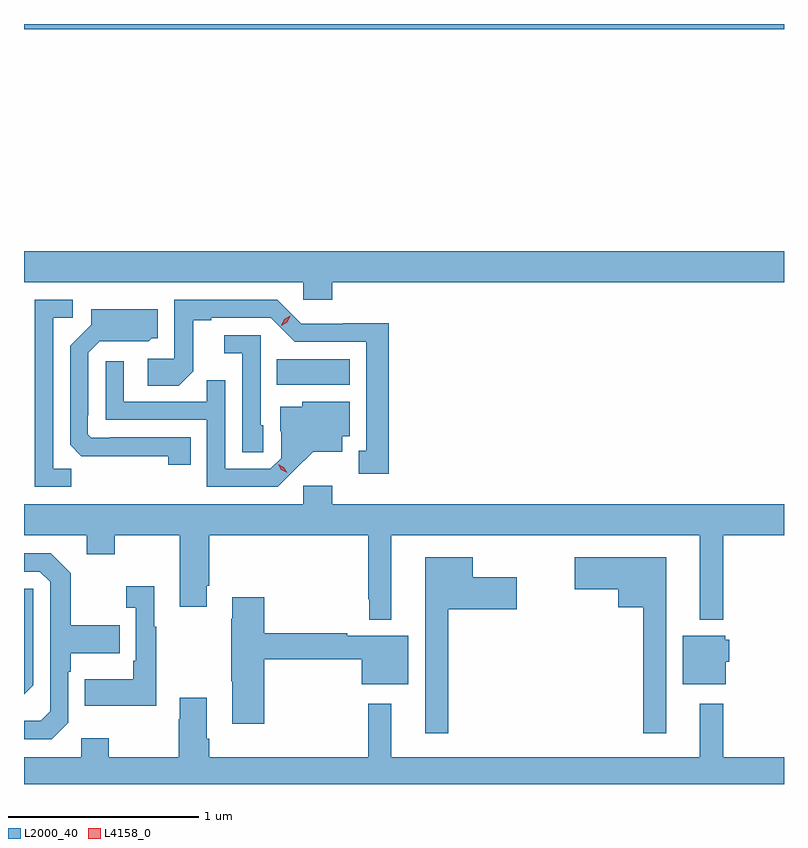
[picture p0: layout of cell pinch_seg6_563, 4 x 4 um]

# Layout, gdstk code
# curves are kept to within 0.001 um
import gdstk
lib = gdstk.Library(unit=1e-6, precision=1e-09)
def R(c, l, rs):  # rectangles x0, y0, x1, y1
    for r in rs: c.add(gdstk.rectangle(r[:2], r[2:], *l))
def P(c, l, *ps):  # polygons
    for p in ps: c.add(gdstk.Polygon(p, *l))
L2000_40 = (2000, 40)
L4158_0 = (4158, 0)

pinch_seg6_563 = lib.new_cell('pinch_seg6_563')
R(pinch_seg6_563, L2000_40, [(599.572,957.452,599.956,957.586), (598.242,959.324,602.242,959.351)])
P(pinch_seg6_563, L2000_40, [(599.864,957.992),(602.242,957.992),(602.242,958.156),(598.242,958.156),(598.242,957.992),(599.712,957.992),(599.712,957.899),(599.864,957.899)],
  [(598.491,957.011),(598.395,957.011),(598.395,957.804),(598.498,957.804),(598.498,957.9),(598.299,957.9),(598.299,956.916),(598.491,956.916)],
  [(600.163,957.776),(599.922,957.776),(599.922,957.774),(599.7,957.774),(599.574,957.9),(599.034,957.9),(599.034,957.588),(598.893,957.588),(598.893,957.448),(599.057,957.448),(599.133,957.524),(599.133,957.792),(599.227,957.792),(599.227,957.804),(599.541,957.804),(599.667,957.678),(600.044,957.678),(600.044,957.105),(600.005,957.105),(600.005,956.985),(600.163,956.985)],
  [(599.12,957.177),(598.696,957.177),(598.696,957.174),(598.596,957.174),(598.578,957.192),(598.578,957.292),(598.581,957.292),(598.581,957.621),(598.641,957.681),(598.898,957.68),(598.914,957.696),(598.945,957.696),(598.945,957.85),(598.595,957.85),(598.595,957.768),(598.485,957.658),(598.485,957.136),(598.544,957.077),(599.002,957.076),(599.002,957.03),(599.12,957.03)],
  [(599.502,957.24),(599.487,957.24),(599.487,957.714),(599.295,957.714),(599.295,957.617),(599.391,957.617),(599.391,957.097),(599.502,957.097)],
  [(599.662,956.999),(599.765,957.101),(599.917,957.101),(599.917,957.18),(599.956,957.18),(599.956,957.364),(599.706,957.364),(599.706,957.337),(599.591,957.337),(599.591,957.208),(599.595,957.208),(599.595,957.066),(599.538,957.009),(599.301,957.009),(599.301,957.476),(599.203,957.476),(599.203,957.363),(598.767,957.363),(598.767,957.577),(598.671,957.577),(598.671,957.267),(599.205,957.267),(599.205,956.916),(599.578,956.916)],
  [(600.175,956.66),(601.799,956.66),(601.799,956.216),(601.921,956.216),(601.921,956.66),(602.242,956.66),(602.242,956.824),(599.864,956.824),(599.864,956.92),(599.712,956.92),(599.712,956.824),(598.242,956.824),(598.242,956.66),(598.571,956.66),(598.571,956.561),(598.719,956.561),(598.719,956.66),(599.063,956.66),(599.063,956.283),(599.203,956.283),(599.203,956.395),(599.216,956.395),(599.216,956.66),(600.054,956.66),(600.054,956.323),(600.06,956.323),(600.06,956.216),(600.175,956.216)],
  [(598.476,955.674),(598.476,955.943),(598.489,955.943),(598.489,956.039),(598.745,956.039),(598.745,956.187),(598.489,956.187),(598.489,956.459),(598.383,956.565),(598.242,956.565),(598.242,956.469),(598.326,956.469),(598.38,956.415),(598.38,955.734),(598.329,955.683),(598.242,955.683),(598.242,955.587),(598.389,955.587)],
  [(601.621,956.545),(601.14,956.545),(601.14,956.375),(601.37,956.375),(601.37,956.282),(601.5,956.282),(601.5,955.617),(601.621,955.617)],
  [(600.475,956.27),(600.835,956.27),(600.835,956.44),(600.604,956.44),(600.604,956.545),(600.353,956.545),(600.353,955.617),(600.475,955.617)],
  [(598.939,956.179),(598.927,956.179),(598.927,956.392),(598.779,956.392),(598.779,956.279),(598.83,956.279),(598.83,955.999),(598.818,955.999),(598.818,955.903),(598.561,955.903),(598.561,955.763),(598.939,955.763)],
  [(598.29,955.872),(598.29,956.379),(598.242,956.379),(598.242,955.824)],
  [(599.507,956.008),(600.02,956.008),(600.02,955.877),(600.265,955.877),(600.265,956.131),(599.942,956.131),(599.942,956.144),(599.507,956.144),(599.507,956.335),(599.339,956.335),(599.339,956.222),(599.332,956.222),(599.332,955.891),(599.339,955.891),(599.339,955.668),(599.507,955.668)],
  [(601.936,955.995),(601.954,955.995),(601.954,956.109),(601.932,956.109),(601.932,956.131),(601.709,956.131),(601.709,955.877),(601.936,955.877)],
  [(602.242,955.492),(601.921,955.492),(601.921,955.774),(601.799,955.774),(601.799,955.492),(600.175,955.492),(600.175,955.774),(600.054,955.774),(600.054,955.492),(599.216,955.492),(599.216,955.588),(599.203,955.588),(599.203,955.804),(599.063,955.804),(599.063,955.691),(599.056,955.691),(599.056,955.492),(598.689,955.492),(598.689,955.591),(598.542,955.591),(598.542,955.492),(598.242,955.492),(598.242,955.351),(602.242,955.351)])
P(pinch_seg6_563, L4158_0, [(599.596,957.762),(599.596,957.763),(599.613,957.796),(599.644,957.815),(599.644,957.815),(599.644,957.815),(599.628,957.782),(599.596,957.762)],
  [(599.627,956.989),(599.596,957.004),(599.579,957.033),(599.579,957.034),(599.579,957.034),(599.61,957.019),(599.628,956.989),(599.628,956.989)])

lib.write_gds('pinch_seg6_563.gds')
